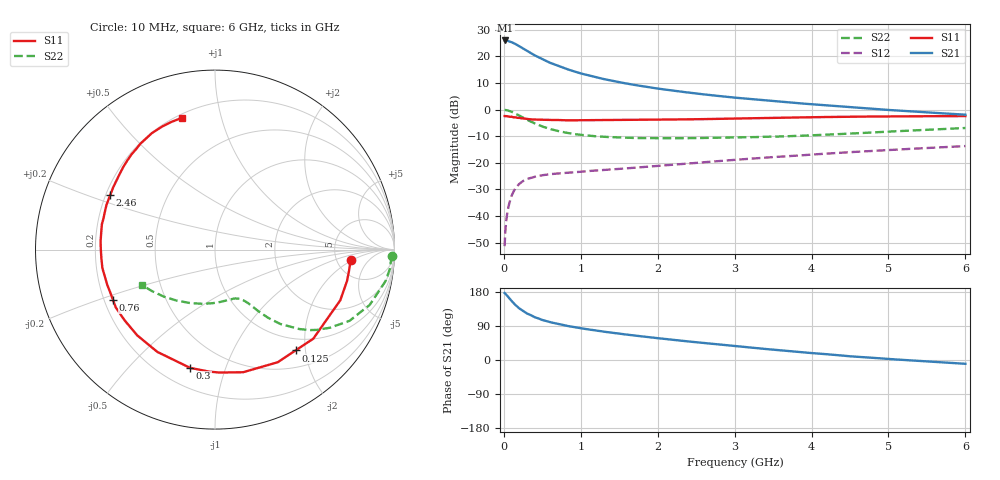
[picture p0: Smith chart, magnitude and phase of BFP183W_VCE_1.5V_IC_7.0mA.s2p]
! Infineon Technologies  Discrete & RF Semiconductors
! BFP183W
! VCE = 1.5 V,  IC =  7.0 mA
! Common Emitter S-Parameters:  Jan 2016
# GHz  S  MA  R  50
!  f  S11  S21  S12  S22
! GHz  MAG  ANG  MAG  ANG  MAG  ANG  MAG  ANG
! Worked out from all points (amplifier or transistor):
!   210 points, 10 MHz to 6 GHz, reference 50 ohm
!   highest |S21| = 26.0 dB at 20 MHz (marker M1)
!   |S21| within 3 dB of that: start of sweep to 248.5 MHz
!   unconditionally stable (mu >= 1): 1.489 GHz to 5.918 GHz
!   at 185 MHz: K = 0.18, MSG = 26.3 dB, |S12| = -28.4 dB
!   at 1.52 GHz: K = 1.01, MAG = 15.6 dB, |S12| = -22.3 dB
!   at 6 GHz: K = 0.99, MSG = 5.9 dB, |S12| = -13.7 dB
!   S11 on the Smith chart (normalised r, x): 10 MHz: 6.74, -1.84; 125 MHz: 0.78, -1.81; 300 MHz: 0.32, -0.76; 760 MHz: 0.24, -0.22; 2.46 GHz: 0.22, +0.24; 6 GHz: 0.22, +0.75
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0.01  0.7578 -4.4  19.94 176.8  0.0027 89.2  0.9877 -2.0
0.02  0.7561 -9.0  20.04 175.0  0.0053 83.3  0.9814 -4.2
0.05  0.753 -22.0  19.73 167.4  0.0126 78.6  0.9668 -10.4
0.09  0.7345 -38.1  18.8 158.2  0.0215 70.1  0.9234 -17.8
0.1  0.7391 -42.2  18.64 155.8  0.0238 69.0  0.9151 -19.7
0.125  0.719 -51.4  17.87 150.7  0.0284 64.3  0.8793 -23.6
0.15  0.7183 -60.9  17.24 145.2  0.0332 60.9  0.8481 -27.9
0.2  0.7009 -77.1  15.63 136.3  0.04 54.4  0.7746 -34.2
0.26  0.6808 -92.7  13.86 127.9  0.0463 48.4  0.6948 -40.2
0.3  0.6733 -101.9  12.74 122.8  0.0494 45.3  0.6453 -43.3
0.4  0.6543 -119.4  10.54 113.1  0.0548 39.4  0.5497 -48.8
0.5  0.6451 -132.2  8.882 105.6  0.0584 36.0  0.4814 -52.1
0.6  0.6395 -142.0  7.624 99.8  0.061 34.1  0.4323 -54.3
0.76  0.6335 -153.8  6.223 92.7  0.0639 33.0  0.381 -56.7
1.02  0.6328 -167.4  4.723 83.2  0.0682 32.8  0.3332 -59.8
1.4  0.637 178.6  3.506 72.1  0.0751 34.5  0.3036 -64.3
2.02  0.6478 162.0  2.472 57.2  0.0879 38.2  0.2902 -73.7
2.46  0.6589 152.3  2.046 47.7  0.0985 39.7  0.2913 -81.7
3.1  0.6821 139.9  1.635 34.9  0.1164 40.2  0.3003 -94.7
4.1  0.7238 123.9  1.233 16.8  0.1458 38.5  0.333 -117.7
5.1  0.7471 112.2  0.966 1.4  0.177 34.8  0.3922 -139.2
6  0.7567 104.2  0.804 -10.0  0.2064 30.6  0.4517 -154.0
